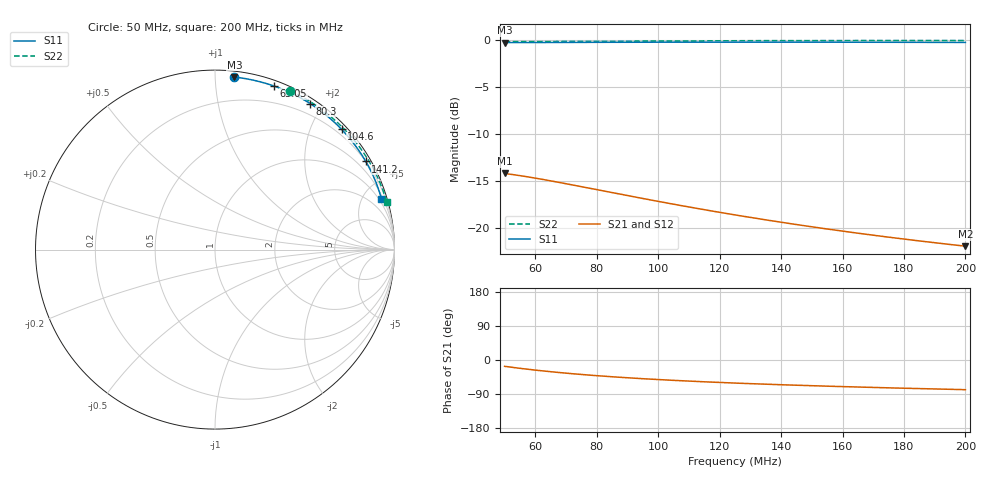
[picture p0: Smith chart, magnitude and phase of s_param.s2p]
! TOUCHSTONE file generated by CST MICROWAVE STUDIO
! Date and time: Thu Jun 27 11:23:28 2024
! Project name: Unit_Cell_Split_Ring_1x1.cst
! Parameters = {C_tune=14; Rs=1.26269; gap_width=2; pcb_edge=1; pcb_thickness=1.6; phantom_edge=10; split_ring_height=0.035; split_ring_inner_radius=30; split_ring_outer_radius=31; state=16.5; trace_width=1}
! Header version: 2024
! Port assignment regex: !\s*Touchstone port\s*([0-9]+)\s*=\s*(CST MWS port|CST DES external port|CST DES block port)\s*(.+)\s* \(\"(.*)\"\)(\s*mode\s*([0-9]+))?.*
! Touchstone port assignment:
! Touchstone port 1 = CST MWS port 1 ("")
! Touchstone port 2 = CST MWS port 2 ("")
# MHz S RI R 50
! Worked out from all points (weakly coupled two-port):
!   1001 points, 50 MHz to 200 MHz, reference 50 ohm
!   highest |S21| = -14.18 dB at 50 MHz (marker M1); lowest = -21.9 dB at 200 MHz (marker M2)
!   lowest |S11| = -0.3 dB at 50 MHz (marker M3), VSWR 60.10, Z = 1.87 + j55.9 ohm
!   |S11| at or under -10 dB: nowhere
!   |S22| runs from -0.2 to -0.1 dB; largest |S21 - S12| = 4.4e-07
!   S11 on the Smith chart (normalised r, x): 50 MHz: 0.04, +1.12; 63.05 MHz: 0.05, +1.42; 80.3 MHz: 0.06, +1.85; 104.6 MHz: 0.10, +2.50; 141.2 MHz: 0.20, +3.68; 200 MHz: 0.69, +6.61
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50  0.108 0.9612  0.1872 -0.0562  0.1872 -0.0562  0.4181 0.8845
50.75  0.1226 0.9595  0.1857 -0.0587  0.1857 -0.0587  0.4299 0.8789
53.75  0.1784 0.951  0.1793 -0.0678  0.1793 -0.0678  0.4744 0.8564
56.75  0.2305 0.9401  0.1726 -0.0757  0.1726 -0.0757  0.5145 0.8336
59.9  0.2813 0.9266  0.1652 -0.0828  0.1652 -0.0828  0.5524 0.8098
63.05  0.3284 0.9114  0.1578 -0.0887  0.1578 -0.0887  0.5864 0.7864
68.9  0.4069 0.8801  0.1442 -0.0971  0.1442 -0.0971  0.641 0.7442
75.05  0.4781 0.8444  0.1306 -0.103  0.1306 -0.103  0.6885 0.7022
80.3  0.5309 0.813  0.1198 -0.1062  0.1198 -0.1062  0.7226 0.6686
84.95  0.5724 0.7849  0.1109 -0.1079  0.1109 -0.1079  0.7487 0.6405
89.75  0.6106 0.7561  0.1024 -0.1089  0.1024 -0.1089  0.7723 0.6131
94.85  0.6467 0.726  0.094 -0.1092  0.094 -0.1092  0.7942 0.5858
100.1  0.6797 0.6956  0.0861 -0.1089  0.0861 -0.1089  0.8139 0.5594
104.6  0.705 0.6703  0.0799 -0.1083  0.0799 -0.1083  0.8288 0.5381
114.35  0.7517 0.618  0.0681 -0.1061  0.0681 -0.1061  0.856 0.4958
125  0.7927 0.5647  0.0573 -0.1029  0.0573 -0.1029  0.8795 0.455
132.8  0.8174 0.5282  0.0506 -0.1003  0.0506 -0.1003  0.8936 0.428
141.2  0.8399 0.4912  0.0442 -0.0974  0.0442 -0.0974  0.9064 0.4015
150.05  0.86 0.4546  0.0384 -0.0943  0.0384 -0.0943  0.9178 0.3759
162.05  0.8823 0.4086  0.0316 -0.0902  0.0316 -0.0902  0.9305 0.3447
175.1  0.9015 0.3625  0.0255 -0.086  0.0255 -0.086  0.9416 0.3145
200  0.9273 0.2841  0.0163 -0.0787  0.0163 -0.0787  0.9572 0.2654
